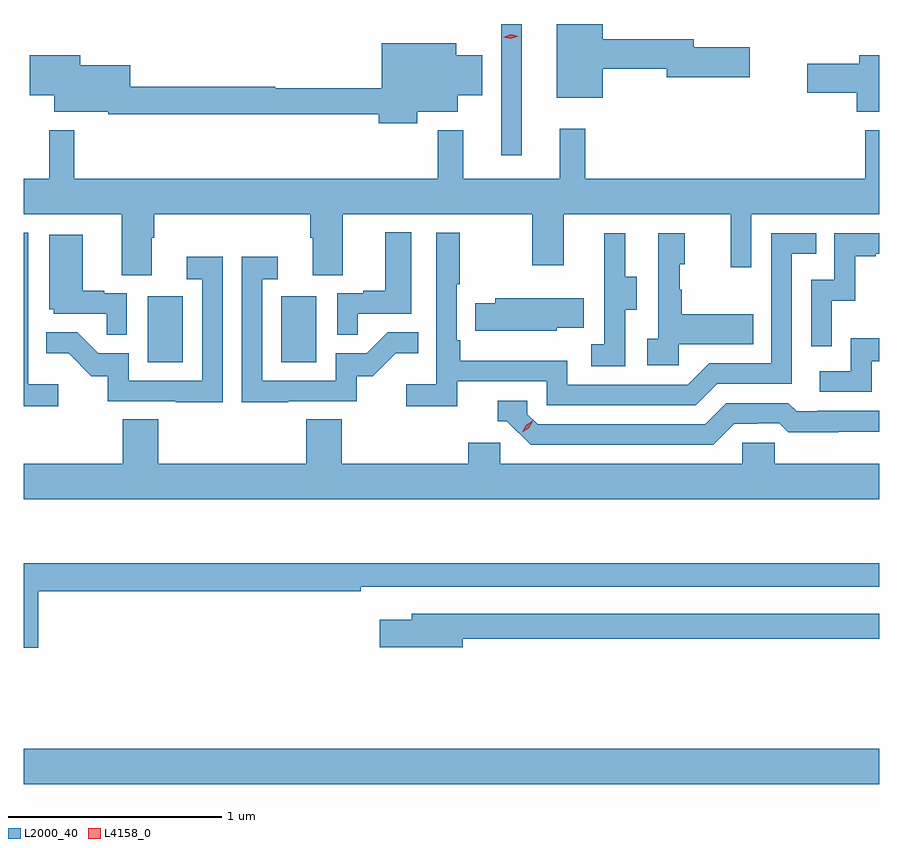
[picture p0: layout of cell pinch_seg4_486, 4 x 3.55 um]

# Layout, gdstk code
import gdstk
lib = gdstk.Library(unit=1e-6, precision=1e-09)
def R(c, l, rs):  # rectangles x0, y0, x1, y1
    for r in rs: c.add(gdstk.rectangle(r[:2], r[2:], *l))
def P(c, l, *ps):  # polygons
    for p in ps: c.add(gdstk.Polygon(p, *l))
L2000_40 = (2000, 40)
L4158_0 = (4158, 0)

pinch_seg4_486 = lib.new_cell('pinch_seg4_486')
R(pinch_seg4_486, L2000_40, [(924.243,750.2,928.243,750.364), (924.824,752.172,924.988,752.479), (925.448,752.172,925.612,752.479), (926.475,753.138,926.572,753.752)])
P(pinch_seg4_486, L2000_40, [(926.95,753.544),(927.248,753.544),(927.248,753.502),(927.637,753.502),(927.637,753.644),(927.376,753.644),(927.376,753.68),(926.95,753.68),(926.95,753.752),(926.735,753.752),(926.735,753.407),(926.95,753.407)],
  [(926.082,753.341),(926.272,753.341),(926.272,753.419),(926.386,753.419),(926.386,753.607),(926.266,753.607),(926.266,753.661),(925.916,753.661),(925.916,753.451),(925.42,753.451),(925.42,753.458),(924.742,753.458),(924.742,753.559),(924.508,753.559),(924.508,753.607),(924.272,753.607),(924.272,753.419),(924.386,753.419),(924.386,753.341),(924.638,753.341),(924.638,753.33),(925.904,753.33),(925.904,753.287),(926.082,753.287)],
  [(928.243,753.607),(928.148,753.607),(928.148,753.567),(927.906,753.567),(927.906,753.43),(928.136,753.43),(928.136,753.341),(928.243,753.341)],
  [(924.841,752.752),(924.854,752.752),(924.854,752.864),(925.583,752.864),(925.583,752.752),(925.595,752.752),(925.595,752.578),(925.735,752.578),(925.735,752.864),(926.62,752.864),(926.62,752.625),(926.767,752.625),(926.767,752.864),(927.548,752.864),(927.548,752.616),(927.645,752.616),(927.645,752.864),(928.243,752.864),(928.243,753.256),(928.177,753.256),(928.177,753.028),(926.867,753.028),(926.867,753.262),(926.75,753.262),(926.75,753.028),(926.297,753.028),(926.297,753.256),(926.179,753.256),(926.179,753.028),(924.479,753.028),(924.479,753.256),(924.362,753.256),(924.362,753.028),(924.243,753.028),(924.243,752.864),(924.701,752.864),(924.701,752.578),(924.841,752.578)],
  [(925.805,752.397),(926.056,752.397),(926.056,752.779),(925.934,752.779),(925.934,752.506),(925.831,752.506),(925.831,752.493),(925.71,752.493),(925.71,752.299),(925.805,752.299)],
  [(926.27,752.082),(926.688,752.082),(926.688,751.971),(927.385,751.971),(927.484,752.07),(927.834,752.07),(927.834,752.679),(927.947,752.679),(927.947,752.775),(927.738,752.775),(927.738,752.166),(927.447,752.166),(927.348,752.067),(926.784,752.067),(926.784,752.179),(926.285,752.179),(926.285,752.275),(926.268,752.275),(926.268,752.536),(926.281,752.536),(926.281,752.776),(926.172,752.776),(926.172,752.068),(926.031,752.068),(926.031,751.966),(926.27,751.966)],
  [(924.406,752.068),(924.264,752.068),(924.264,752.776),(924.243,752.776),(924.243,751.966),(924.406,751.966)],
  [(928.02,752.459),(928.13,752.459),(928.13,752.667),(928.225,752.667),(928.225,752.679),(928.243,752.679),(928.243,752.775),(928.032,752.775),(928.032,752.556),(927.924,752.556),(927.924,752.247),(928.02,752.247)],
  [(927.054,752.416),(927.109,752.416),(927.109,752.571),(927.055,752.571),(927.055,752.773),(926.957,752.773),(926.957,752.559),(926.958,752.559),(926.958,752.255),(926.895,752.255),(926.895,752.152),(927.054,752.152)],
  [(927.306,752.255),(927.653,752.255),(927.653,752.395),(927.319,752.395),(927.319,752.51),(927.309,752.51),(927.309,752.628),(927.334,752.628),(927.334,752.773),(927.21,752.773),(927.21,752.282),(927.159,752.282),(927.159,752.157),(927.306,752.157)],
  [(924.726,752.493),(924.62,752.493),(924.62,752.506),(924.52,752.506),(924.52,752.767),(924.362,752.767),(924.362,752.418),(924.384,752.418),(924.384,752.397),(924.631,752.397),(924.631,752.299),(924.726,752.299)],
  [(925.481,751.989),(925.8,751.989),(925.8,752.106),(925.876,752.106),(925.983,752.213),(926.087,752.213),(926.087,752.312),(925.944,752.312),(925.846,752.214),(925.701,752.214),(925.701,752.085),(925.359,752.085),(925.359,752.559),(925.432,752.559),(925.432,752.665),(925.263,752.665),(925.263,751.984),(925.481,751.984)],
  [(925.173,752.665),(925.005,752.665),(925.005,752.559),(925.077,752.559),(925.077,752.085),(924.735,752.085),(924.735,752.214),(924.591,752.214),(924.493,752.312),(924.349,752.312),(924.349,752.213),(924.453,752.213),(924.56,752.106),(924.637,752.106),(924.637,751.989),(924.955,751.989),(924.955,751.984),(925.173,751.984)],
  [(926.736,752.333),(926.861,752.333),(926.861,752.47),(926.447,752.47),(926.447,752.448),(926.353,752.448),(926.353,752.319),(926.464,752.319),(926.464,752.318),(926.736,752.318)],
  [(928.206,752.175),(928.243,752.175),(928.243,752.284),(928.11,752.284),(928.11,752.13),(927.963,752.13),(927.963,752.034),(928.206,752.034)],
  [(927.565,751.884),(927.672,751.884),(927.672,751.887),(927.775,751.887),(927.817,751.845),(928.05,751.845),(928.05,751.847),(928.243,751.847),(928.243,751.944),(927.955,751.944),(927.955,751.941),(927.856,751.941),(927.817,751.98),(927.528,751.98),(927.429,751.881),(926.646,751.881),(926.598,751.929),(926.598,751.992),(926.459,751.992),(926.459,751.896),(926.502,751.896),(926.613,751.785),(927.466,751.785)],
  [(928.243,751.696),(927.753,751.696),(927.753,751.794),(927.603,751.794),(927.603,751.696),(926.472,751.696),(926.472,751.794),(926.321,751.794),(926.321,751.696),(925.73,751.696),(925.73,751.904),(925.565,751.904),(925.565,751.696),(924.872,751.696),(924.872,751.904),(924.707,751.904),(924.707,751.696),(924.243,751.696),(924.243,751.532),(928.243,751.532)],
  [(924.311,751.102),(925.82,751.102),(925.82,751.122),(928.243,751.122),(928.243,751.231),(924.243,751.231),(924.243,750.837),(924.311,750.837)],
  [(926.296,750.88),(928.243,750.88),(928.243,750.996),(926.057,750.996),(926.057,750.967),(925.908,750.967),(925.908,750.838),(926.296,750.838)])
P(pinch_seg4_486, L4158_0, [(926.521,753.683),(926.485,753.691),(926.485,753.691),(926.485,753.691),(926.52,753.703),(926.556,753.695),(926.556,753.694),(926.556,753.694)],
  [(926.574,751.844),(926.574,751.844),(926.59,751.876),(926.621,751.896),(926.622,751.896),(926.622,751.895),(926.605,751.863),(926.574,751.844)])

lib.write_gds('pinch_seg4_486.gds')
